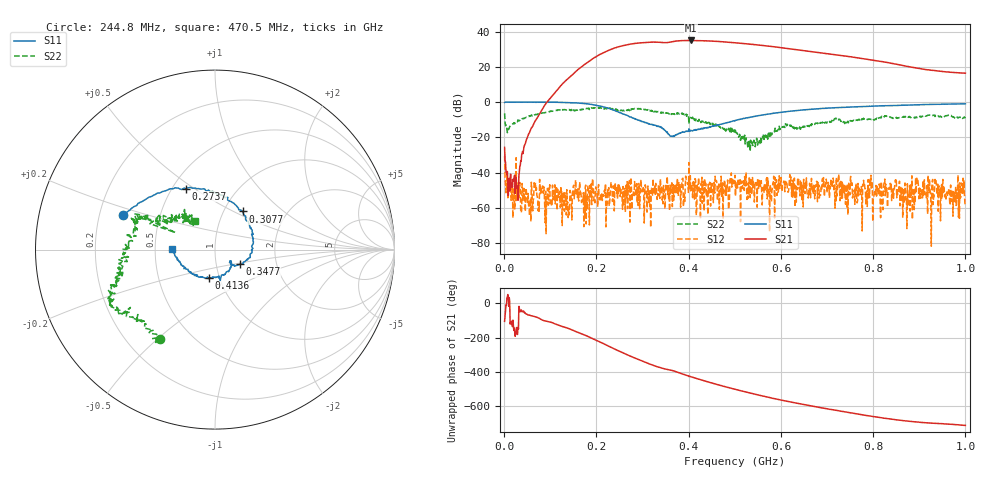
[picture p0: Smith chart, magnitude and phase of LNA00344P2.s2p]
! Created with skrf 1.9.0 (http://scikit-rf.org).
# Hz S RI R 50.0
!freq ReS11 ImS11 ReS21 ImS21 ReS12 ImS12 ReS22 ImS22
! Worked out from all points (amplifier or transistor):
!   1001 points, 1 MHz to 1 GHz, reference 50 ohm
!   highest |S21| = 35.1 dB at 404.6 MHz (marker M1)
!   |S21| within 3 dB of that: 256.9 MHz to 565.6 MHz (308.6 MHz wide, 75 % of centre)
!   unconditionally stable (mu >= 1): 219.9 MHz to 296.5 MHz; 296.9 MHz to 400.3 MHz; 400.9 MHz to end of sweep (the widest 3 of 33)
!   at 166.8 MHz: K = 1.61, MAG = 31.8 dB, |S12| = -52.9 dB
!   at 500.5 MHz: K = 1.33, MAG = 34.3 dB, |S12| = -41.6 dB
!   at 1 GHz: K = 10.50, MAG = 24.1 dB, |S12| = -58.1 dB
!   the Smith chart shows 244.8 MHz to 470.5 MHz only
!   S11 on the Smith chart (normalised r, x): 244.8 MHz: 0.30, +0.17; 273.7 MHz: 0.59, +0.46; 307.7 MHz: 1.22, +0.56; 347.7 MHz: 1.30, -0.22; 413.6 MHz: 0.89, -0.29; 470.5 MHz: 0.62, +0.00
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1000000  0.976 -0.00335  -0.0129 -0.0499  -0.0296 0.00336  0.334 0.343
1.08892e8  0.5028 -0.8571  -0.8149 -1.573  0.00159 0.00065  0.4364 -0.3582
1.67833e8  -0.2644 -0.8855  -10.18 -0.5315  0.000396 -0.00135  0.0706 -0.6234
2.09791e8  -0.6818 -0.3491  -15.6 17.44  -0.000731 0.00137  -0.163 -0.6764
2.44756e8  -0.5104 0.1915  2.041 36.33  -0.00357 0.000162  -0.3038 -0.4993
2.73727e8  -0.1622 0.3396  27.94 34.54  -0.00375 -0.00274  -0.5022 -0.3449
3.07693e8  0.1537 0.2124  48.37 12.27  -0.00159 0.00196  -0.5677 -0.1924
3.34666e8  0.2058 -0.00309  49.13 -11.09  -0.00405 -0.00143  -0.5354 -0.0555
3.47653e8  0.1368 -0.0816  45.48 -18.82  0.00283 -0.000956  -0.5144 0.00187
3.73627e8  0.0905 -0.0784  41.71 -35.37  0.0032 0.00308  -0.4532 0.1677
4.04596e8  0.0162 -0.1507  20.66 -52.7  -0.00108 0.0028  -0.3296 0.1566
4.13587e8  -0.0326 -0.1589  13.55 -54.53  0.00511 0.00433  -0.2685 0.1469
4.41559e8  -0.1487 -0.1188  -8.508 -54.37  -0.000254 0.000585  -0.1672 0.1846
4.7053e8  -0.2371 0.00124  -26.59 -45.01  0.00762 0.00178  -0.1095 0.1592
5.005e8  -0.2498 0.1496  -38.77 -30.1  -0.00694 -0.0046  -0.137 0.1112
5.39461e8  -0.1711 0.3443  -42.71 -8.773  0.0024 -0.00275  -0.0574 -0.0119
5.85415e8  0.0246 0.4854  -35.84 10.73  0.00405 -0.00289  -0.1386 -0.0671
6.25375e8  0.214 0.5213  -24.91 20.03  -0.00151 0.0011  -0.1699 -0.1177
6.67333e8  0.4092 0.4777  -13.2 23.52  0.000251 -0.00358  -0.2233 -0.0423
7.53247e8  0.6792 0.2655  3.608 18.87  -0.000948 -0.00393  -0.2901 0.026
8.34166e8  0.7947 0.00843  9.23 9.289  0.00209 0.00277  -0.3654 0.0806
1e9  0.7215 -0.5328  6.614 0.7262  -0.000958 -0.000789  -0.143 0.3426
